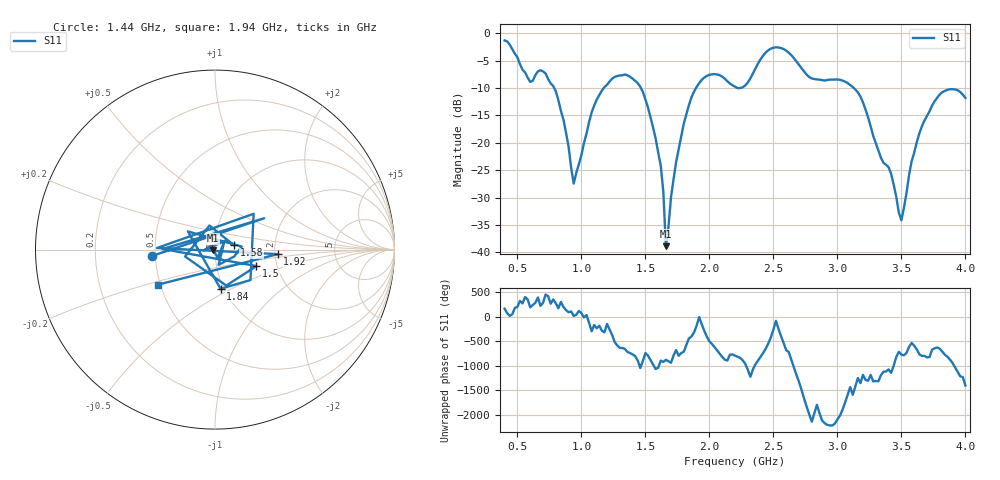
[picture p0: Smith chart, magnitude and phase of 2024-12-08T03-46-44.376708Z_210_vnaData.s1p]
!Created with skrf (http://scikit-rf.org).
# Hz S RI R 50.0
!freq ReS11 ImS11
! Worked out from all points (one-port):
!   181 points, 400 MHz to 4 GHz, reference 50 ohm
!   lowest |S11| = -38.9 dB at 1.66 GHz (marker M1), VSWR 1.02, Z = 48.9 - j0.371 ohm
!   |S11| at or under -10 dB: 787.5 MHz to 1.175 GHz (387.2 MHz wide, 39.5 % of centre); 1.465 GHz to 1.895 GHz (430.3 MHz wide, 25.6 % of centre); 3.128 GHz to end of sweep (the widest 3 of 4)
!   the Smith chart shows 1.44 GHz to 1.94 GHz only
!   S11 on the Smith chart (normalised r, x): 1.44 GHz: 0.48, -0.04; 1.5 GHz: 1.56, -0.31; 1.58 GHz: 1.24, +0.06; 1.84 GHz: 0.96, -0.44; 1.92 GHz: 2.07, -0.12; 1.94 GHz: 0.48, -0.22
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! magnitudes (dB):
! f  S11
! 400 MHz  -1.3
! 600 MHz  -8.9
! 720 MHz  -7.3
! 860 MHz  -15.8
! 940 MHz  -27.5
! 1.1 GHz  -13.2
! 1.3 GHz  -7.7
! 1.44 GHz  -9.1
! 1.5 GHz  -12.1
! 1.58 GHz  -19.2
! 1.64 GHz  -28.9
! 1.66 GHz  -38.9
! 1.76 GHz  -21.2
! 1.84 GHz  -13.1
! 1.92 GHz  -9.1
! 1.94 GHz  -8.5
! 2.2 GHz  -9.8
! 2.48 GHz  -2.8
! 2.66 GHz  -4.5
! 2.8 GHz  -8.3
! 3.1 GHz  -9.4
! 3.18 GHz  -11.6
! 3.4 GHz  -24.5
! 3.5 GHz  -34.2
! 3.56 GHz  -25.9
! 3.64 GHz  -18.3
! 3.76 GHz  -12.4
! 4 GHz  -11.8
